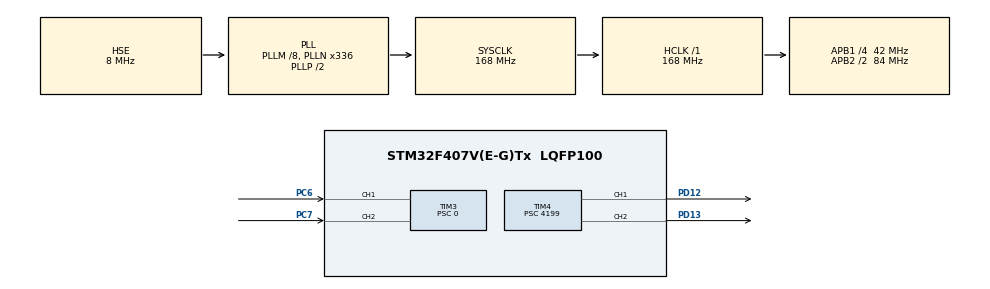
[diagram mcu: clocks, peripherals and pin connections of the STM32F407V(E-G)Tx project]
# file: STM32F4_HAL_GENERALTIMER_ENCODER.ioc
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Mcu.Family=STM32F4
Mcu.Name=STM32F407V(E-G)Tx
Mcu.Package=LQFP100
NVIC.PriorityGroup=NVIC_PRIORITYGROUP_0
PC6.Signal=S_TIM3_CH1
PC7.Signal=S_TIM3_CH2
PD12.Signal=S_TIM4_CH1
PD13.Signal=S_TIM4_CH2
PH0-OSC_IN.Mode=HSE-External-Oscillator
PH0-OSC_IN.Signal=RCC_OSC_IN
PH1-OSC_OUT.Mode=HSE-External-Oscillator
PH1-OSC_OUT.Signal=RCC_OSC_OUT
ProjectManager.HeapSize=0x200
ProjectManager.StackSize=0x400
ProjectManager.TargetToolchain=TrueSTUDIO
RCC.48MHZClocksFreq_Value=48000000
RCC.AHBFreq_Value=168000000
RCC.APB1CLKDivider=RCC_HCLK_DIV4
RCC.APB1Freq_Value=42000000
RCC.APB1TimFreq_Value=84000000
RCC.APB2CLKDivider=RCC_HCLK_DIV2
RCC.APB2Freq_Value=84000000
RCC.APB2TimFreq_Value=168000000
RCC.CortexFreq_Value=168000000
RCC.HCLKFreq_Value=168000000
RCC.HSE_VALUE=8000000
RCC.HSI_VALUE=16000000
RCC.PLLM=8
RCC.PLLN=336
RCC.PLLQ=7
RCC.PLLSourceVirtual=RCC_PLLSOURCE_HSE
RCC.SYSCLKFreq_VALUE=168000000
RCC.SYSCLKSource=RCC_SYSCLKSOURCE_PLLCLK
RCC.VCOOutputFreq_Value=336000000
SH.S_TIM3_CH1.0=TIM3_CH1,Encoder_Interface
SH.S_TIM3_CH2.0=TIM3_CH2,Encoder_Interface
SH.S_TIM4_CH1.0=TIM4_CH1,Output Compare1 CH1
SH.S_TIM4_CH2.0=TIM4_CH2,Output Compare2 CH2
TIM3.EncoderMode=TIM_ENCODERMODE_TI12
TIM3.Period=65535
TIM3.Prescaler=0
TIM4.Channel-Output\ Compare1\ CH1=TIM_CHANNEL_1
TIM4.Channel-Output\ Compare2\ CH2=TIM_CHANNEL_2
TIM4.OCMode_1=TIM_OCMODE_TOGGLE
TIM4.OCMode_2=TIM_OCMODE_TOGGLE
TIM4.Period=9999
TIM4.Prescaler=4199
TIM4.Pulse-Output\ Compare1\ CH1=4999
TIM4.Pulse-Output\ Compare2\ CH2=9999
VP_TIM4_VS_ClockSourceINT.Mode=Internal
board=STM32F4DISCOVERY

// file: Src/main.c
/**
  ******************************************************************************
  * @file           : main.c
  * @brief          : Main program body
  ******************************************************************************
  ** This notice applies to any and all portions of this file
  * that are not between comment pairs USER CODE BEGIN and
  * USER CODE END. Other portions of this file, whether
  * inserted by the user or by software development tools
  * are owned by their respective copyright owners.
  *
  * COPYRIGHT(c) 2019 STMicroelectronics
  *
  * Redistribution and use in source and binary forms, with or without modification,
  * are permitted provided that the following conditions are met:
  *   1. Redistributions of source code must retain the above copyright notice,
  *      this list of conditions and the following disclaimer.
  *   2. Redistributions in binary form must reproduce the above copyright notice,
  *      this list of conditions and the following disclaimer in the documentation
  *      and/or other materials provided with the distribution.
  *   3. Neither the name of STMicroelectronics nor the names of its contributors
  *      may be used to endorse or promote products derived from this software
  *      without specific prior written permission.
  *
  * THIS SOFTWARE IS PROVIDED BY THE COPYRIGHT HOLDERS AND CONTRIBUTORS "AS IS"
  * AND ANY EXPRESS OR IMPLIED WARRANTIES, INCLUDING, BUT NOT LIMITED TO, THE
  * IMPLIED WARRANTIES OF MERCHANTABILITY AND FITNESS FOR A PARTICULAR PURPOSE ARE
  * DISCLAIMED. IN NO EVENT SHALL THE COPYRIGHT HOLDER OR CONTRIBUTORS BE LIABLE
  * FOR ANY DIRECT, INDIRECT, INCIDENTAL, SPECIAL, EXEMPLARY, OR CONSEQUENTIAL
  * DAMAGES (INCLUDING, BUT NOT LIMITED TO, PROCUREMENT OF SUBSTITUTE GOODS OR
  * SERVICES; LOSS OF USE, DATA, OR PROFITS; OR BUSINESS INTERRUPTION) HOWEVER
  * CAUSED AND ON ANY THEORY OF LIABILITY, WHETHER IN CONTRACT, STRICT LIABILITY,
  * OR TORT (INCLUDING NEGLIGENCE OR OTHERWISE) ARISING IN ANY WAY OUT OF THE USE
  * OF THIS SOFTWARE, EVEN IF ADVISED OF THE POSSIBILITY OF SUCH DAMAGE.
  *
  ******************************************************************************
  */
#include "main.h"
#include "stm32f4xx_hal.h"

TIM_HandleTypeDef htim3;
TIM_HandleTypeDef htim4;

/* USER CODE BEGIN PV */
/* Private variables ---------------------------------------------------------*/

/* USER CODE END PV */

void SystemClock_Config(void);
static void MX_GPIO_Init(void);
static void MX_TIM3_Init(void);
static void MX_TIM4_Init(void);

void HAL_TIM_MspPostInit(TIM_HandleTypeDef *htim);

/* USER CODE BEGIN PFP */
/* Private function prototypes -----------------------------------------------*/

/* USER CODE END PFP */

/* USER CODE BEGIN 0 */
#define ONE_ROTATION_PULSES 6
uint16_t cnt1, cnt2, diff, speed, dir;
uint32_t tick;

/* USER CODE END 0 */

int main(void)
{

  /* MCU Configuration----------------------------------------------------------*/

  /* Reset of all peripherals, Initializes the Flash interface and the Systick. */
  HAL_Init();

  /* Configure the system clock */
  SystemClock_Config();

  /* Initialize all configured peripherals */
  MX_GPIO_Init();
  MX_TIM3_Init();
  MX_TIM4_Init();
  /* USER CODE BEGIN 2 */
  HAL_TIM_Encoder_Start(&htim3, TIM_CHANNEL_ALL);
  HAL_TIM_OC_Start(&htim4, TIM_CHANNEL_1);
  HAL_TIM_OC_Start(&htim4, TIM_CHANNEL_2);

  /* 현재 카운터와 Tick 값 */
  cnt1 = TIM3->CNT;
  tick = HAL_GetTick();

  /* USER CODE END 2 */

  /* Infinite loop */
  while (1)
  {

  /* USER CODE BEGIN 3 */
    if(HAL_GetTick() - tick > 1000L)
    {
      /* 회전 방향 확인 */
      if(__HAL_TIM_IS_TIM_COUNTING_DOWN(&htim3))
      {
        dir = 1;
      }
      else
      {
        dir = 0;
      }

      /* 1초마다 TIM3 카운터 증가 확인 */
      cnt2 = TIM3->CNT;

      if(dir)
      {
        /* Down Counting 방향으로 회전할 때 */
        if(cnt1 > cnt2) diff = cnt1 - cnt2;
        else diff = (TIM3->ARR + cnt1) - cnt2 ;
      }
      else
      {
        /* Up Counting 방향으로 회전할 때 */
        if(cnt2 > cnt1) diff = cnt2 - cnt1;
        else diff = (TIM3->ARR + cnt2) - cnt1 ;
      }

      if((TIM3->SMCR & 0x03) == 0x03)
      {
        /* X4 Mode 일때는 카운터가 4 증가할 때, 1개의 Pulse */
        speed = diff * 60 / 4 / ONE_ROTATION_PULSES; //RPM 계산을 위해서는 x 60
      }
      else
      {
        /* X4 Mode 일때는 카운터가 2 증가할 때, 1개의 Pulse */
        speed = diff * 60 / 2 / ONE_ROTATION_PULSES; //RPM 계산을 위해서는 x 60
      }

      tick = HAL_GetTick();
      cnt1 = TIM3->CNT;
    }
  }
  /* USER CODE END 3 */

}

void SystemClock_Config(void)
{

  RCC_OscInitTypeDef RCC_OscInitStruct;
  RCC_ClkInitTypeDef RCC_ClkInitStruct;

    /**Configure the main internal regulator output voltage
    */
  __HAL_RCC_PWR_CLK_ENABLE();

  __HAL_PWR_VOLTAGESCALING_CONFIG(PWR_REGULATOR_VOLTAGE_SCALE1);

    /**Initializes the CPU, AHB and APB busses clocks
    */
  RCC_OscInitStruct.OscillatorType = RCC_OSCILLATORTYPE_HSE;
  RCC_OscInitStruct.HSEState = RCC_HSE_ON;
  RCC_OscInitStruct.PLL.PLLState = RCC_PLL_ON;
  RCC_OscInitStruct.PLL.PLLSource = RCC_PLLSOURCE_HSE;
  RCC_OscInitStruct.PLL.PLLM = 8;
  RCC_OscInitStruct.PLL.PLLN = 336;
  RCC_OscInitStruct.PLL.PLLP = RCC_PLLP_DIV2;
  RCC_OscInitStruct.PLL.PLLQ = 7;
  if (HAL_RCC_OscConfig(&RCC_OscInitStruct) != HAL_OK)
  {
    _Error_Handler(__FILE__, __LINE__);
  }

    /**Initializes the CPU, AHB and APB busses clocks
    */
  RCC_ClkInitStruct.ClockType = RCC_CLOCKTYPE_HCLK|RCC_CLOCKTYPE_SYSCLK
                              |RCC_CLOCKTYPE_PCLK1|RCC_CLOCKTYPE_PCLK2;
  RCC_ClkInitStruct.SYSCLKSource = RCC_SYSCLKSOURCE_PLLCLK;
  RCC_ClkInitStruct.AHBCLKDivider = RCC_SYSCLK_DIV1;
  RCC_ClkInitStruct.APB1CLKDivider = RCC_HCLK_DIV4;
  RCC_ClkInitStruct.APB2CLKDivider = RCC_HCLK_DIV2;

  if (HAL_RCC_ClockConfig(&RCC_ClkInitStruct, FLASH_LATENCY_5) != HAL_OK)
  {
    _Error_Handler(__FILE__, __LINE__);
  }

    /**Configure the Systick interrupt time
    */
  HAL_SYSTICK_Config(HAL_RCC_GetHCLKFreq()/1000);

    /**Configure the Systick
    */
  HAL_SYSTICK_CLKSourceConfig(SYSTICK_CLKSOURCE_HCLK);

  /* SysTick_IRQn interrupt configuration */
  HAL_NVIC_SetPriority(SysTick_IRQn, 0, 0);
}

/* TIM3 init function */
static void MX_TIM3_Init(void)
{

  TIM_Encoder_InitTypeDef sConfig;
  TIM_MasterConfigTypeDef sMasterConfig;

  htim3.Instance = TIM3;
  htim3.Init.Prescaler = 0;
  htim3.Init.CounterMode = TIM_COUNTERMODE_UP;
  htim3.Init.Period = 65535;
  htim3.Init.ClockDivision = TIM_CLOCKDIVISION_DIV1;
  sConfig.EncoderMode = TIM_ENCODERMODE_TI12;
  sConfig.IC1Polarity = TIM_ICPOLARITY_RISING;
  sConfig.IC1Selection = TIM_ICSELECTION_DIRECTTI;
  sConfig.IC1Prescaler = TIM_ICPSC_DIV1;
  sConfig.IC1Filter = 0;
  sConfig.IC2Polarity = TIM_ICPOLARITY_RISING;
  sConfig.IC2Selection = TIM_ICSELECTION_DIRECTTI;
  sConfig.IC2Prescaler = TIM_ICPSC_DIV1;
  sConfig.IC2Filter = 0;
  if (HAL_TIM_Encoder_Init(&htim3, &sConfig) != HAL_OK)
  {
    _Error_Handler(__FILE__, __LINE__);
  }

  sMasterConfig.MasterOutputTrigger = TIM_TRGO_RESET;
  sMasterConfig.MasterSlaveMode = TIM_MASTERSLAVEMODE_DISABLE;
  if (HAL_TIMEx_MasterConfigSynchronization(&htim3, &sMasterConfig) != HAL_OK)
  {
    _Error_Handler(__FILE__, __LINE__);
  }

}

/* TIM4 init function */
static void MX_TIM4_Init(void)
{

  TIM_ClockConfigTypeDef sClockSourceConfig;
  TIM_MasterConfigTypeDef sMasterConfig;
  TIM_OC_InitTypeDef sConfigOC;

  htim4.Instance = TIM4;
  htim4.Init.Prescaler = 4199;
  htim4.Init.CounterMode = TIM_COUNTERMODE_UP;
  htim4.Init.Period = 9999;
  htim4.Init.ClockDivision = TIM_CLOCKDIVISION_DIV1;
  if (HAL_TIM_Base_Init(&htim4) != HAL_OK)
  {
    _Error_Handler(__FILE__, __LINE__);
  }

  sClockSourceConfig.ClockSource = TIM_CLOCKSOURCE_INTERNAL;
  if (HAL_TIM_ConfigClockSource(&htim4, &sClockSourceConfig) != HAL_OK)
  {
    _Error_Handler(__FILE__, __LINE__);
  }

  if (HAL_TIM_OC_Init(&htim4) != HAL_OK)
  {
    _Error_Handler(__FILE__, __LINE__);
  }

  sMasterConfig.MasterOutputTrigger = TIM_TRGO_RESET;
  sMasterConfig.MasterSlaveMode = TIM_MASTERSLAVEMODE_DISABLE;
  if (HAL_TIMEx_MasterConfigSynchronization(&htim4, &sMasterConfig) != HAL_OK)
  {
    _Error_Handler(__FILE__, __LINE__);
  }

  sConfigOC.OCMode = TIM_OCMODE_TOGGLE;
  sConfigOC.Pulse = 9999;
  sConfigOC.OCPolarity = TIM_OCPOLARITY_HIGH;
  sConfigOC.OCFastMode = TIM_OCFAST_DISABLE;
  if (HAL_TIM_OC_ConfigChannel(&htim4, &sConfigOC, TIM_CHANNEL_1) != HAL_OK)
  {
    _Error_Handler(__FILE__, __LINE__);
  }

  sConfigOC.Pulse = 4999;
  if (HAL_TIM_OC_ConfigChannel(&htim4, &sConfigOC, TIM_CHANNEL_2) != HAL_OK)
  {
    _Error_Handler(__FILE__, __LINE__);
  }

  HAL_TIM_MspPostInit(&htim4);

}

/** Configure pins as
        * Analog
        * Input
        * Output
        * EVENT_OUT
        * EXTI
*/
static void MX_GPIO_Init(void)
{

  /* GPIO Ports Clock Enable */
  __HAL_RCC_GPIOH_CLK_ENABLE();
  __HAL_RCC_GPIOD_CLK_ENABLE();
  __HAL_RCC_GPIOC_CLK_ENABLE();

}

void _Error_Handler(char *file, int line)
{
  while(1)
  {
  }
}

/************************ (C) COPYRIGHT STMicroelectronics *****END OF FILE****/
